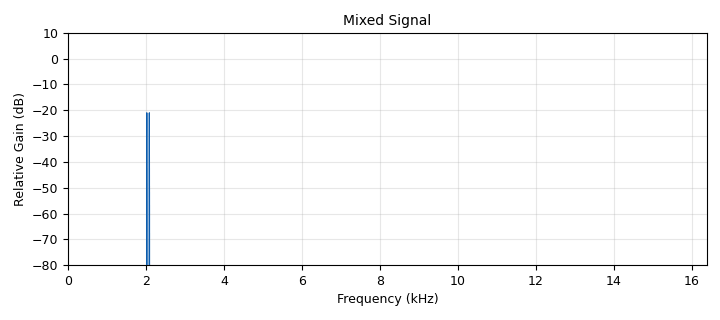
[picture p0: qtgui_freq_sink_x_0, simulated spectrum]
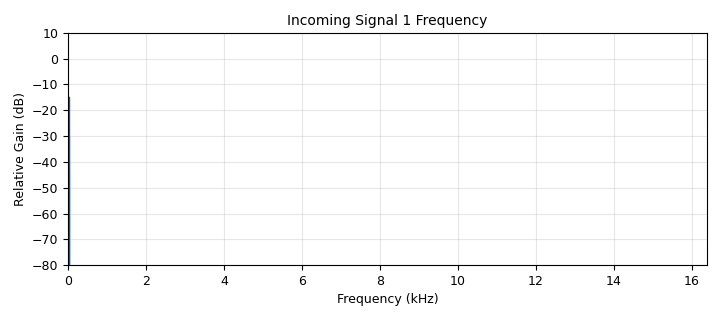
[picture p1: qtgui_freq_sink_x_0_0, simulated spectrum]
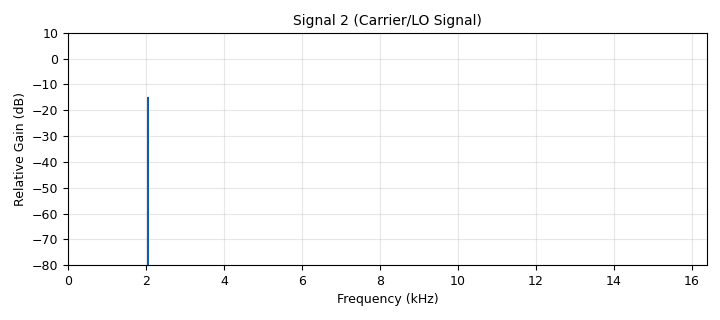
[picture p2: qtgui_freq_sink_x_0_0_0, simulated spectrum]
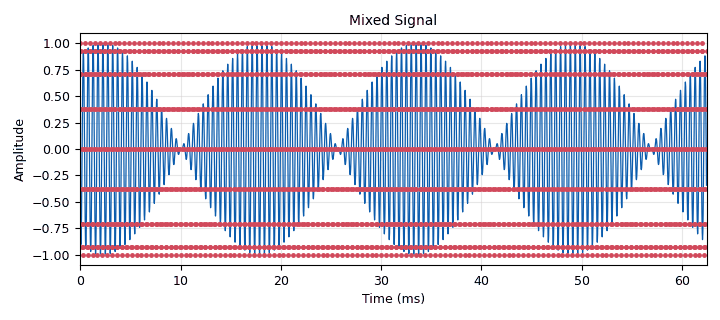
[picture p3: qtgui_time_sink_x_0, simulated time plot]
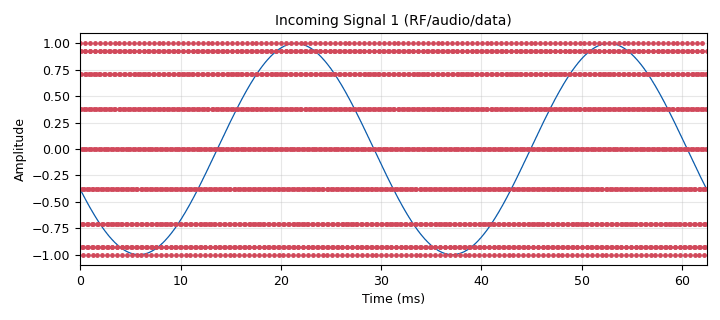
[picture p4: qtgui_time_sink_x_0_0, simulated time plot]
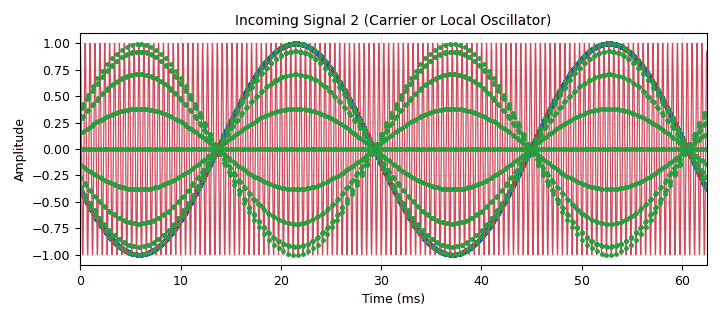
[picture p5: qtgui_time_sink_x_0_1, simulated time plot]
<?xml version='1.0' encoding='utf-8'?>
<?grc format='1' created='3.7.11'?>
<flow_graph>
<block>
<key>options</key>
<param><key>id</key><value>MixingDemo</value></param>
<param><key>generate_options</key><value>qt_gui</value></param>
</block>
<block>
<key>variable_qtgui_range</key>
<param><key>id</key><value>amp_slider</value></param>
<param><key>value</key><value>1</value></param>
<param><key>gui_hint</key><value>1,2,1,2</value></param>
<param><key>orient</key><value>Qt.Horizontal</value></param>
<param><key>start</key><value>0.001</value></param>
<param><key>step</key><value>0.001</value></param>
<param><key>stop</key><value>1</value></param>
</block>
<block>
<key>variable_qtgui_range</key>
<param><key>id</key><value>cutoff</value></param>
<param><key>value</key><value>0.5</value></param>
<param><key>gui_hint</key><value>0,2,1,2</value></param>
<param><key>label</key><value>Cutoff Freq</value></param>
<param><key>orient</key><value>Qt.Horizontal</value></param>
<param><key>start</key><value>0.01</value></param>
<param><key>step</key><value>0.001</value></param>
<param><key>stop</key><value>0.5</value></param>
</block>
<block>
<key>variable</key>
<param><key>id</key><value>cutoff</value></param>
<param><key>_enabled</key><value>0</value></param>
<param><key>value</key><value>0.5</value></param>
</block>
<block>
<key>variable_qtgui_range</key>
<param><key>id</key><value>f0</value></param>
<param><key>value</key><value>32</value></param>
<param><key>gui_hint</key><value>0,0,1,2</value></param>
<param><key>orient</key><value>Qt.Horizontal</value></param>
<param><key>start</key><value>0</value></param>
<param><key>step</key><value>1</value></param>
<param><key>stop</key><value>4096</value></param>
</block>
<block>
<key>variable_qtgui_range</key>
<param><key>id</key><value>f1</value></param>
<param><key>value</key><value>2048</value></param>
<param><key>gui_hint</key><value>1,0,1,2</value></param>
<param><key>orient</key><value>Qt.Horizontal</value></param>
<param><key>start</key><value>1</value></param>
<param><key>step</key><value>1</value></param>
<param><key>stop</key><value>4096</value></param>
</block>
<block>
<key>variable_qtgui_range</key>
<param><key>id</key><value>offset_signal</value></param>
<param><key>value</key><value>0</value></param>
<param><key>gui_hint</key><value>2,1,1,2</value></param>
<param><key>orient</key><value>Qt.Horizontal</value></param>
<param><key>start</key><value>0</value></param>
<param><key>step</key><value>0.001</value></param>
<param><key>stop</key><value>1</value></param>
</block>
<block>
<key>variable</key>
<param><key>id</key><value>samp_rate</value></param>
<param><key>value</key><value>32768</value></param>
</block>
<block>
<key>variable_qtgui_chooser</key>
<param><key>id</key><value>waveform</value></param>
<param><key>value</key><value>102</value></param>
<param><key>_enabled</key><value>0</value></param>
<param><key>gui_hint</key><value>0,2,1,1</value></param>
<param><key>label0</key><value>Cosine</value></param>
<param><key>label1</key><value>Square</value></param>
<param><key>label2</key><value>Triangle</value></param>
<param><key>label3</key><value>Sawtooth</value></param>
<param><key>label</key><value>Waveform 1 Select</value></param>
<param><key>num_opts</key><value>4</value></param>
<param><key>option0</key><value>102</value></param>
<param><key>option1</key><value>103</value></param>
<param><key>option2</key><value>104</value></param>
<param><key>option3</key><value>105</value></param>
<param><key>type</key><value>int</value></param>
<param><key>widget</key><value>radio_buttons</value></param>
</block>
<block>
<key>variable</key>
<param><key>id</key><value>waveform</value></param>
<param><key>value</key><value>102</value></param>
</block>
<block>
<key>variable_qtgui_chooser</key>
<param><key>id</key><value>waveform2</value></param>
<param><key>value</key><value>102</value></param>
<param><key>_enabled</key><value>0</value></param>
<param><key>gui_hint</key><value>0,3,1,1</value></param>
<param><key>label0</key><value>Cosine</value></param>
<param><key>label1</key><value>Square</value></param>
<param><key>label2</key><value>Triangle</value></param>
<param><key>label3</key><value>Sawtooth</value></param>
<param><key>label</key><value>Waveform 2 Select</value></param>
<param><key>num_opts</key><value>4</value></param>
<param><key>option0</key><value>102</value></param>
<param><key>option1</key><value>103</value></param>
<param><key>option2</key><value>104</value></param>
<param><key>option3</key><value>105</value></param>
<param><key>type</key><value>int</value></param>
<param><key>widget</key><value>radio_buttons</value></param>
</block>
<block>
<key>variable</key>
<param><key>id</key><value>waveform2</value></param>
<param><key>value</key><value>102</value></param>
</block>
<block>
<key>analog_sig_source_x</key>
<param><key>id</key><value>analog_sig_source_x_0</value></param>
<param><key>amp</key><value>amp_slider</value></param>
<param><key>freq</key><value>f0</value></param>
<param><key>offset</key><value>offset_signal</value></param>
<param><key>type</key><value>float</value></param>
<param><key>samp_rate</key><value>samp_rate</value></param>
<param><key>waveform</key><value>waveform</value></param>
</block>
<block>
<key>analog_sig_source_x</key>
<param><key>id</key><value>analog_sig_source_x_0_0</value></param>
<param><key>amp</key><value>1</value></param>
<param><key>freq</key><value>f1</value></param>
<param><key>offset</key><value>0</value></param>
<param><key>type</key><value>float</value></param>
<param><key>samp_rate</key><value>samp_rate</value></param>
<param><key>waveform</key><value>waveform2</value></param>
</block>
<block>
<key>blocks_multiply_xx</key>
<param><key>id</key><value>blocks_multiply_xx_0</value></param>
<param><key>type</key><value>float</value></param>
</block>
<block>
<key>blocks_throttle</key>
<param><key>id</key><value>blocks_throttle_0</value></param>
<param><key>samples_per_second</key><value>samp_rate</value></param>
<param><key>type</key><value>float</value></param>
</block>
<block>
<key>import</key>
<param><key>id</key><value>import_0</value></param>
<param><key>import</key><value>from scipy import signal</value></param>
</block>
<block>
<key>low_pass_filter</key>
<param><key>id</key><value>low_pass_filter_0</value></param>
<param><key>cutoff_freq</key><value>cutoff*samp_rate</value></param>
<param><key>decim</key><value>1</value></param>
<param><key>type</key><value>fir_filter_fff</value></param>
<param><key>gain</key><value>1</value></param>
<param><key>samp_rate</key><value>samp_rate</value></param>
<param><key>width</key><value>100</value></param>
<param><key>win</key><value>firdes.WIN_HAMMING</value></param>
</block>
<block>
<key>qtgui_freq_sink_x</key>
<param><key>id</key><value>qtgui_freq_sink_x_0</value></param>
<param><key>bw</key><value>samp_rate</value></param>
<param><key>fc</key><value>0</value></param>
<param><key>fftsize</key><value>16383</value></param>
<param><key>gui_hint</key><value>5,2,1,2</value></param>
<param><key>legend</key><value>False</value></param>
<param><key>name</key><value>"Mixed Signal"</value></param>
<param><key>showports</key><value>True</value></param>
<param><key>freqhalf</key><value>False</value></param>
<param><key>type</key><value>float</value></param>
<param><key>wintype</key><value>firdes.WIN_BLACKMAN_hARRIS</value></param>
<param><key>ymin</key><value>-80</value></param>
</block>
<block>
<key>qtgui_freq_sink_x</key>
<param><key>id</key><value>qtgui_freq_sink_x_0_0</value></param>
<param><key>bw</key><value>samp_rate</value></param>
<param><key>fc</key><value>0</value></param>
<param><key>fftsize</key><value>16383</value></param>
<param><key>gui_hint</key><value>3,2,1,2</value></param>
<param><key>legend</key><value>False</value></param>
<param><key>name</key><value>"Incoming Signal 1 Frequency"</value></param>
<param><key>showports</key><value>True</value></param>
<param><key>freqhalf</key><value>False</value></param>
<param><key>type</key><value>float</value></param>
<param><key>wintype</key><value>firdes.WIN_BLACKMAN_hARRIS</value></param>
<param><key>ymin</key><value>-80</value></param>
</block>
<block>
<key>qtgui_freq_sink_x</key>
<param><key>id</key><value>qtgui_freq_sink_x_0_0_0</value></param>
<param><key>bw</key><value>samp_rate</value></param>
<param><key>fc</key><value>0</value></param>
<param><key>fftsize</key><value>16383</value></param>
<param><key>gui_hint</key><value>4,2,1,2</value></param>
<param><key>legend</key><value>False</value></param>
<param><key>name</key><value>"Signal 2 (Carrier/LO Signal)"</value></param>
<param><key>showports</key><value>True</value></param>
<param><key>freqhalf</key><value>False</value></param>
<param><key>type</key><value>float</value></param>
<param><key>wintype</key><value>firdes.WIN_BLACKMAN_hARRIS</value></param>
<param><key>ymin</key><value>-80</value></param>
</block>
<block>
<key>qtgui_time_sink_x</key>
<param><key>id</key><value>qtgui_time_sink_x_0</value></param>
<param><key>autoscale</key><value>True</value></param>
<param><key>gui_hint</key><value>5,0,1,2</value></param>
<param><key>grid</key><value>True</value></param>
<param><key>legend</key><value>False</value></param>
<param><key>color1</key><value>"blue"</value></param>
<param><key>label1</key><value></value></param>
<param><key>color2</key><value>"red"</value></param>
<param><key>label2</key><value></value></param>
<param><key>style2</key><value>0</value></param>
<param><key>name</key><value>"Mixed Signal"</value></param>
<param><key>nconnections</key><value>2</value></param>
<param><key>size</key><value>2048</value></param>
<param><key>srate</key><value>samp_rate</value></param>
<param><key>tr_chan</key><value>1</value></param>
<param><key>tr_level</key><value>1</value></param>
<param><key>tr_mode</key><value>qtgui.TRIG_MODE_AUTO</value></param>
<param><key>type</key><value>float</value></param>
</block>
<block>
<key>qtgui_time_sink_x</key>
<param><key>id</key><value>qtgui_time_sink_x_0_0</value></param>
<param><key>autoscale</key><value>True</value></param>
<param><key>gui_hint</key><value>3,0,1,2</value></param>
<param><key>grid</key><value>True</value></param>
<param><key>legend</key><value>False</value></param>
<param><key>color1</key><value>"blue"</value></param>
<param><key>label1</key><value></value></param>
<param><key>color2</key><value>"red"</value></param>
<param><key>label2</key><value></value></param>
<param><key>style2</key><value>0</value></param>
<param><key>name</key><value>"Incoming Signal 1 (RF/audio/data)"</value></param>
<param><key>nconnections</key><value>2</value></param>
<param><key>size</key><value>2048</value></param>
<param><key>srate</key><value>samp_rate</value></param>
<param><key>tr_chan</key><value>1</value></param>
<param><key>tr_level</key><value>1</value></param>
<param><key>tr_mode</key><value>qtgui.TRIG_MODE_AUTO</value></param>
<param><key>type</key><value>float</value></param>
</block>
<block>
<key>qtgui_time_sink_x</key>
<param><key>id</key><value>qtgui_time_sink_x_0_1</value></param>
<param><key>autoscale</key><value>True</value></param>
<param><key>gui_hint</key><value>4,0,1,2</value></param>
<param><key>legend</key><value>False</value></param>
<param><key>color1</key><value>"blue"</value></param>
<param><key>label1</key><value></value></param>
<param><key>style1</key><value>0</value></param>
<param><key>color2</key><value>"red"</value></param>
<param><key>label2</key><value></value></param>
<param><key>color3</key><value>"green"</value></param>
<param><key>label3</key><value></value></param>
<param><key>style3</key><value>0</value></param>
<param><key>name</key><value>"Incoming Signal 2 (Carrier or Local Oscillator)"</value></param>
<param><key>nconnections</key><value>3</value></param>
<param><key>size</key><value>2048</value></param>
<param><key>srate</key><value>samp_rate</value></param>
<param><key>tr_chan</key><value>1</value></param>
<param><key>tr_level</key><value>1</value></param>
<param><key>tr_mode</key><value>qtgui.TRIG_MODE_AUTO</value></param>
<param><key>type</key><value>float</value></param>
</block>
<connection><source_block_id>analog_sig_source_x_0</source_block_id><sink_block_id>blocks_multiply_xx_0</sink_block_id><source_key>0</source_key><sink_key>1</sink_key></connection>
<connection><source_block_id>analog_sig_source_x_0</source_block_id><sink_block_id>qtgui_freq_sink_x_0_0</sink_block_id><source_key>0</source_key><sink_key>0</sink_key></connection>
<connection><source_block_id>analog_sig_source_x_0</source_block_id><sink_block_id>qtgui_time_sink_x_0_0</sink_block_id><source_key>0</source_key><sink_key>0</sink_key></connection>
<connection><source_block_id>analog_sig_source_x_0</source_block_id><sink_block_id>qtgui_time_sink_x_0_1</sink_block_id><source_key>0</source_key><sink_key>0</sink_key></connection>
<connection><source_block_id>analog_sig_source_x_0_0</source_block_id><sink_block_id>blocks_multiply_xx_0</sink_block_id><source_key>0</source_key><sink_key>0</sink_key></connection>
<connection><source_block_id>analog_sig_source_x_0_0</source_block_id><sink_block_id>qtgui_freq_sink_x_0_0_0</sink_block_id><source_key>0</source_key><sink_key>0</sink_key></connection>
<connection><source_block_id>analog_sig_source_x_0_0</source_block_id><sink_block_id>qtgui_time_sink_x_0</sink_block_id><source_key>0</source_key><sink_key>1</sink_key></connection>
<connection><source_block_id>analog_sig_source_x_0_0</source_block_id><sink_block_id>qtgui_time_sink_x_0_0</sink_block_id><source_key>0</source_key><sink_key>1</sink_key></connection>
<connection><source_block_id>analog_sig_source_x_0_0</source_block_id><sink_block_id>qtgui_time_sink_x_0_1</sink_block_id><source_key>0</source_key><sink_key>1</sink_key></connection>
<connection><source_block_id>blocks_multiply_xx_0</source_block_id><sink_block_id>blocks_throttle_0</sink_block_id><source_key>0</source_key><sink_key>0</sink_key></connection>
<connection><source_block_id>blocks_throttle_0</source_block_id><sink_block_id>low_pass_filter_0</sink_block_id><source_key>0</source_key><sink_key>0</sink_key></connection>
<connection><source_block_id>blocks_throttle_0</source_block_id><sink_block_id>qtgui_time_sink_x_0_1</sink_block_id><source_key>0</source_key><sink_key>2</sink_key></connection>
<connection><source_block_id>low_pass_filter_0</source_block_id><sink_block_id>qtgui_freq_sink_x_0</sink_block_id><source_key>0</source_key><sink_key>0</sink_key></connection>
<connection><source_block_id>low_pass_filter_0</source_block_id><sink_block_id>qtgui_time_sink_x_0</sink_block_id><source_key>0</source_key><sink_key>0</sink_key></connection>
</flow_graph>
